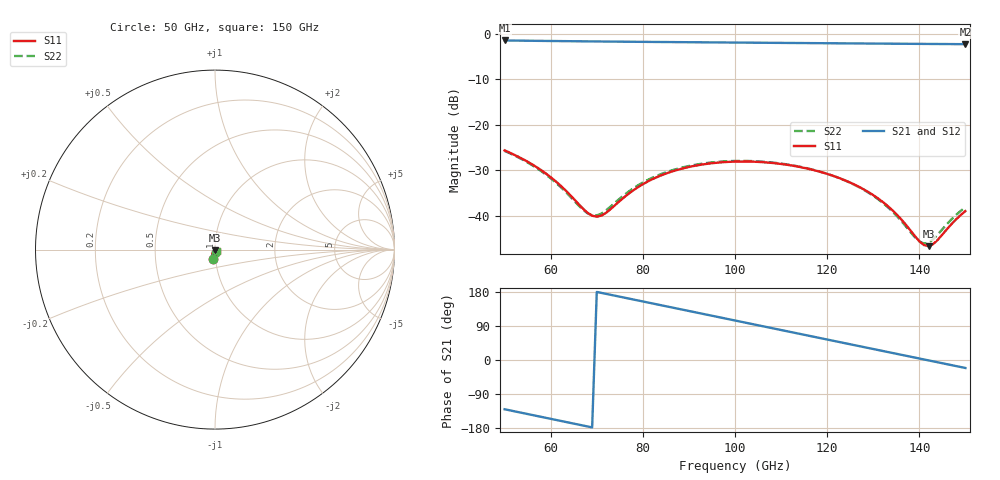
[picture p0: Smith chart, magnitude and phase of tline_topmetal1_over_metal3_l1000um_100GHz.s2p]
#  GHZ S DB R 50
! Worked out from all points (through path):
!   101 points, 50 GHz to 150 GHz, reference 50 ohm
!   highest |S21| = -1.47 dB at 50 GHz (marker M1); lowest = -2.3 dB at 150 GHz (marker M2)
!   group delay of S21, straight-line fit = 6.97 ps
!   lowest |S11| = -46.6 dB at 142 GHz (marker M3), VSWR 1.01, Z = 50 - j0.466 ohm
!   |S11| at or under -10 dB: start of sweep to end of sweep
!   |S22| runs from -46.0 to -25.7 dB; largest |S21 - S12| = 0
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50  -25.60 -103.6  -1.47 -130.0  -1.47 -130.0  -25.72 -103.2
55  -28.09 -112.7  -1.53 -142.6  -1.53 -142.6  -28.26 -112.0
59  -30.71 -117.6  -1.58 -152.7  -1.58 -152.7  -30.94 -116.5
63  -34.15 -117.3  -1.62 -162.8  -1.62 -162.8  -34.46 -115.2
67  -38.38 -102.9  -1.66 -172.9  -1.66 -172.9  -38.62 -98.1
69  -39.93 -85.2  -1.68 -177.9  -1.68 -177.9  -39.87 -79.3
71  -39.91 -64.1  -1.70 177.1  -1.70 177.1  -39.47 -59.0
78  -34.31 -35.6  -1.76 159.5  -1.76 159.5  -33.88 -34.6
84  -31.07 -40.2  -1.81 144.4  -1.81 144.4  -30.78 -39.8
92  -28.85 -54.6  -1.87 124.3  -1.87 124.3  -28.64 -54.4
100  -28.06 -71.8  -1.93 104.2  -1.93 104.2  -27.92 -71.6
108  -28.35 -89.7  -1.99 84.2  -1.99 84.2  -28.25 -89.4
117  -29.90 -109.6  -2.06 61.6  -2.06 61.6  -29.86 -109.2
122  -31.44 -119.9  -2.10 49.0  -2.10 49.0  -31.44 -119.4
127  -33.64 -129.1  -2.13 36.5  -2.13 36.5  -33.72 -128.2
131  -36.11 -134.4  -2.16 26.5  -2.16 26.5  -36.28 -132.9
134  -38.58 -135.7  -2.18 19.0  -2.18 19.0  -38.86 -133.3
140  -45.53 -111.7  -2.22 4.0  -2.22 4.0  -45.57 -102.7
142  -46.62 -85.7  -2.24 -1.0  -2.24 -1.0  -45.87 -76.3
144  -45.23 -61.6  -2.25 -6.1  -2.25 -6.1  -44.06 -55.9
147  -41.75 -45.3  -2.27 -13.6  -2.27 -13.6  -40.71 -43.3
150  -38.92 -42.0  -2.29 -21.1  -2.29 -21.1  -38.06 -41.3
